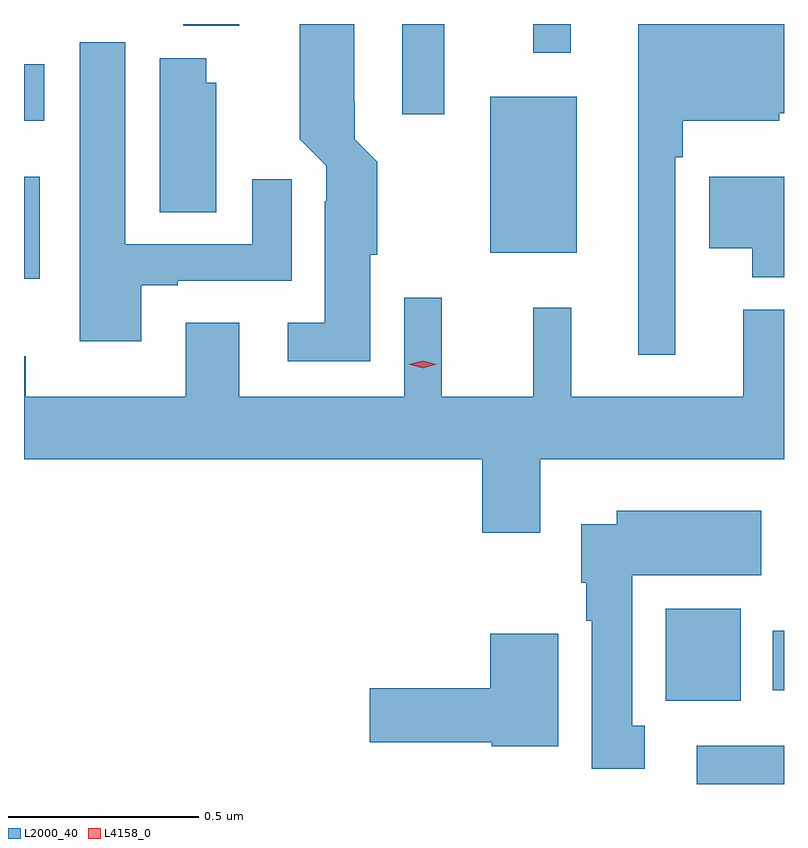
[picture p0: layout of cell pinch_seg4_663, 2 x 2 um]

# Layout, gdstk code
import gdstk
lib = gdstk.Library(unit=1e-6, precision=1e-09)
def R(c, l, rs):  # rectangles x0, y0, x1, y1
    for r in rs: c.add(gdstk.rectangle(r[:2], r[2:], *l))
def P(c, l, *ps):  # polygons
    for p in ps: c.add(gdstk.Polygon(p, *l))
L2000_40 = (2000, 40)
L4158_0 = (4158, 0)

pinch_seg4_663 = lib.new_cell('pinch_seg4_663')
R(pinch_seg4_663, L2000_40, [(1050.335,752.009,1050.565,752.11), (1050.254,752.228,1050.451,752.47), (1050.536,752.256,1050.565,752.412), (1048.565,753.338,1048.606,753.607), (1049.792,753.407,1050.019,753.817), (1048.565,753.755,1048.618,753.903), (1049.561,753.771,1049.671,754.009), (1049.905,753.933,1050.004,754.009), (1048.984,754.004,1049.131,754.009)])
P(pinch_seg4_663, L2000_40, [(1049.476,753.402),(1049.494,753.402),(1049.494,753.647),(1049.435,753.706),(1049.435,753.805),(1049.434,753.805),(1049.434,754.009),(1049.291,754.009),(1049.291,753.706),(1049.361,753.636),(1049.361,753.542),(1049.357,753.542),(1049.357,753.223),(1049.259,753.223),(1049.259,753.122),(1049.476,753.122)],
  [(1050.279,753.659),(1050.299,753.659),(1050.299,753.755),(1050.553,753.755),(1050.553,753.774),(1050.565,753.774),(1050.565,754.009),(1050.182,754.009),(1050.182,753.138),(1050.279,753.138)],
  [(1048.873,753.321),(1048.969,753.321),(1048.969,753.333),(1049.269,753.333),(1049.269,753.601),(1049.165,753.601),(1049.165,753.429),(1048.831,753.429),(1048.831,753.961),(1048.712,753.961),(1048.712,753.174),(1048.873,753.174)],
  [(1049.071,753.855),(1049.044,753.855),(1049.044,753.919),(1048.922,753.919),(1048.922,753.514),(1049.071,753.514)],
  [(1050.565,753.607),(1050.368,753.607),(1050.368,753.419),(1050.482,753.419),(1050.482,753.342),(1050.565,753.342)],
  [(1049.923,752.864),(1050.565,752.864),(1050.565,753.257),(1050.458,753.257),(1050.458,753.028),(1050.005,753.028),(1050.005,753.262),(1049.905,753.262),(1049.905,753.028),(1049.664,753.028),(1049.664,753.289),(1049.565,753.289),(1049.565,753.028),(1049.131,753.028),(1049.131,753.223),(1048.991,753.223),(1048.991,753.028),(1048.57,753.028),(1048.57,753.135),(1048.565,753.135),(1048.565,752.864),(1049.771,752.864),(1049.771,752.67),(1049.923,752.67)],
  [(1050.199,752.162),(1050.166,752.162),(1050.166,752.558),(1050.505,752.558),(1050.505,752.728),(1050.125,752.728),(1050.125,752.692),(1050.032,752.692),(1050.032,752.538),(1050.044,752.538),(1050.044,752.438),(1050.059,752.438),(1050.059,752.049),(1050.199,752.049)],
  [(1049.971,752.404),(1049.792,752.404),(1049.792,752.261),(1049.475,752.261),(1049.475,752.119),(1049.796,752.119),(1049.796,752.108),(1049.971,752.108)])
P(pinch_seg4_663, L4158_0, [(1049.614,753.103),(1049.578,753.113),(1049.577,753.113),(1049.578,753.113),(1049.614,753.123),(1049.65,753.113),(1049.65,753.113),(1049.65,753.113)])

lib.write_gds('pinch_seg4_663.gds')
